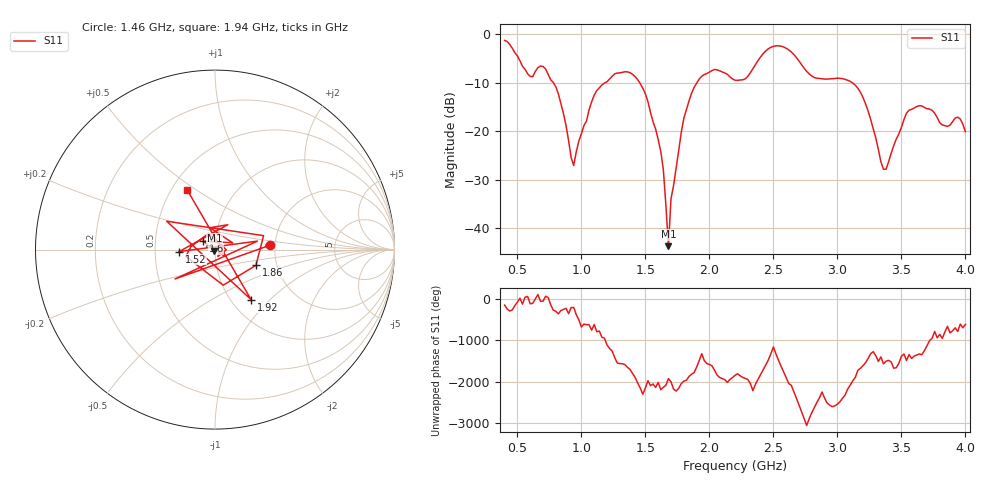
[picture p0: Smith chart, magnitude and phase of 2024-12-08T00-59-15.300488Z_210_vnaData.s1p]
!Created with skrf (http://scikit-rf.org).
# Hz S RI R 50.0
!freq ReS11 ImS11
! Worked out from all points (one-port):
!   181 points, 400 MHz to 4 GHz, reference 50 ohm
!   lowest |S11| = -43.6 dB at 1.68 GHz (marker M1), VSWR 1.01, Z = 49.6 - j0.531 ohm
!   |S11| at or under -10 dB: 781 MHz to 1.186 GHz (404.8 MHz wide, 41.2 % of centre); 1.455 GHz to 1.903 GHz (447.8 MHz wide, 26.7 % of centre); 3.115 GHz to end of sweep
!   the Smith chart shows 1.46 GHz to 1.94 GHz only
!   S11 on the Smith chart (normalised r, x): 1.46 GHz: 1.89, +0.10; 1.52 GHz: 0.67, -0.02; 1.6 GHz: 0.87, +0.08; 1.86 GHz: 1.56, -0.29; 1.92 GHz: 1.23, -0.78; 1.94 GHz: 0.60, +0.46
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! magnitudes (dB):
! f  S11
! 400 MHz  -1.3
! 600 MHz  -8.7
! 720 MHz  -7.2
! 860 MHz  -16.4
! 940 MHz  -27.0
! 1.1 GHz  -12.6
! 1.3 GHz  -8.0
! 1.46 GHz  -10.2
! 1.52 GHz  -13.9
! 1.6 GHz  -21.7
! 1.64 GHz  -27.8
! 1.68 GHz  -43.6
! 1.7 GHz  -33.9
! 1.76 GHz  -24.0
! 1.86 GHz  -12.2
! 1.92 GHz  -9.3
! 1.94 GHz  -8.7
! 2.2 GHz  -9.5
! 2.48 GHz  -2.7
! 2.66 GHz  -4.2
! 2.82 GHz  -8.9
! 3.1 GHz  -9.7
! 3.22 GHz  -14.4
! 3.36 GHz  -27.8
! 3.56 GHz  -15.7
! 3.86 GHz  -19.0
! 3.94 GHz  -17.1
! 4 GHz  -20.1
